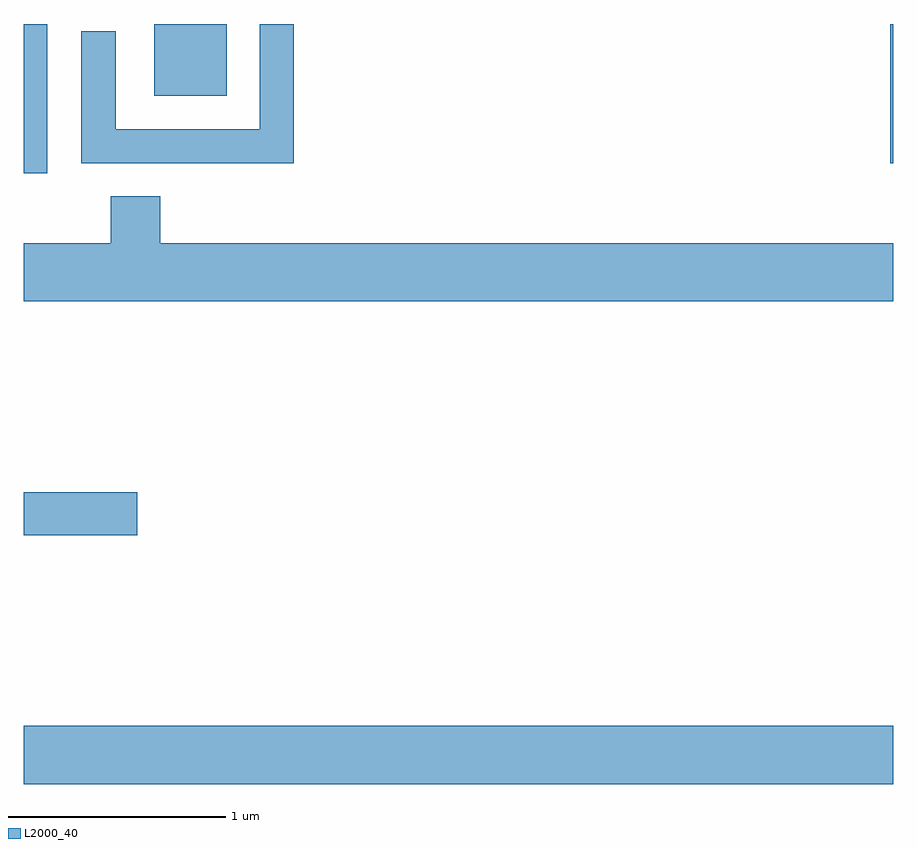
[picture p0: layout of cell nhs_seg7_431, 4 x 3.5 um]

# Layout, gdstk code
import gdstk
lib = gdstk.Library(unit=1e-6, precision=1e-09)
def R(c, l, rs):  # rectangles x0, y0, x1, y1
    for r in rs: c.add(gdstk.rectangle(r[:2], r[2:], *l))
def P(c, l, *ps):  # polygons
    for p in ps: c.add(gdstk.Polygon(p, *l))
L2000_40 = (2000, 40)

nhs_seg7_431 = lib.new_cell('nhs_seg7_431')
R(nhs_seg7_431, L2000_40, [(197.611,1718.756,201.611,1719.024), (197.611,1719.901,198.134,1720.099), (197.611,1721.566,197.719,1722.252), (201.596,1721.611,201.611,1722.252), (198.211,1721.921,198.544,1722.252)])
P(nhs_seg7_431, L2000_40, [(198.854,1722.252),(198.696,1722.252),(198.696,1721.769),(198.034,1721.769),(198.034,1722.218),(197.876,1722.218),(197.876,1721.611),(198.854,1721.611)],
  [(201.611,1721.244),(198.239,1721.244),(198.239,1721.459),(198.011,1721.459),(198.011,1721.244),(197.611,1721.244),(197.611,1720.976),(201.611,1720.976)])

lib.write_gds('nhs_seg7_431.gds')
